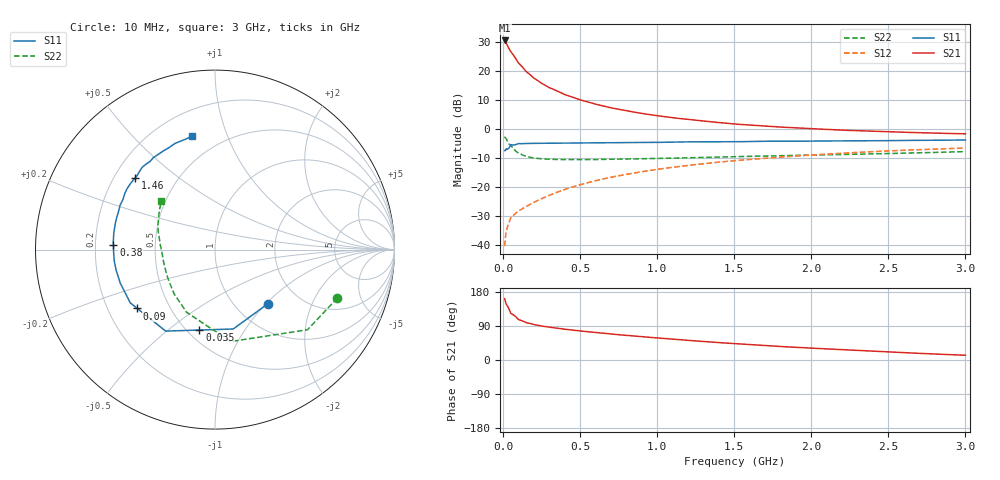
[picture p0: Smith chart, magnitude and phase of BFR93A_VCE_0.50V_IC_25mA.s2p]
! Infineon Technologies  Discrete & RF Semiconductors
! BFR93A
! VCE = 0.50 V,  IC =  25 mA
! Common Emitter S-Parameters:  Nov 2015
# GHz  S  MA  R  50
!  f  S11  S21  S12  S22
! GHz  MAG  ANG  MAG  ANG  MAG  ANG  MAG  ANG
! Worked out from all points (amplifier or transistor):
!   180 points, 10 MHz to 3 GHz, reference 50 ohm
!   highest |S21| = 30.6 dB at 10 MHz (marker M1)
!   |S21| within 3 dB of that: start of sweep to 40.33 MHz
!   unconditionally stable (mu >= 1): 200.4 MHz to end of sweep
!   at 160 MHz: K = 0.91, MSG = 23.0 dB, |S12| = -26.5 dB
!   at 1.22 GHz: K = 1.19, MAG = 5.2 dB, |S12| = -12.5 dB
!   at 3 GHz: K = 1.07, MAG = 0.8 dB, |S12| = -6.6 dB
!   S11 on the Smith chart (normalised r, x): 10 MHz: 1.40, -1.03; 35 MHz: 0.57, -0.65; 90 MHz: 0.33, -0.30; 380 MHz: 0.28, +0.02; 1.46 GHz: 0.29, +0.36; 3 GHz: 0.35, +0.75
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0.01  0.4218 -45.7  33.73 161.9  0.0094 74.3  0.7335 -21.6
0.02  0.4538 -77.1  30.22 147.8  0.0169 65.2  0.6819 -40.9
0.035  0.4565 -101.0  25.36 137.6  0.0228 57.1  0.5663 -57.8
0.05  0.5308 -121.2  21.65 123.2  0.0289 52.3  0.5197 -80.3
0.09  0.543 -142.9  15.21 111.3  0.0363 49.8  0.3972 -105.9
0.1  0.5576 -147.9  13.77 106.6  0.0381 49.3  0.3834 -114.3
0.15  0.5599 -160.6  9.771 98.6  0.0455 52.8  0.3361 -132.5
0.2  0.5625 -168.1  7.543 93.5  0.0537 56.3  0.3136 -143.9
0.26  0.5648 -174.1  5.923 89.0  0.064 59.2  0.303 -152.8
0.3  0.5648 -177.1  5.155 86.4  0.071 60.7  0.2984 -157.3
0.38  0.5669 177.5  4.159 82.4  0.086 62.5  0.2952 -163.6
0.4  0.5682 176.2  3.914 81.1  0.0897 62.9  0.295 -165.2
0.52  0.5717 169.8  3.074 75.8  0.112 63.5  0.2937 -171.5
0.6  0.574 166.3  2.674 72.4  0.127 63.4  0.2954 -175.1
0.7  0.5759 162.4  2.313 68.5  0.1458 62.7  0.2975 -178.5
0.88  0.5821 155.7  1.887 62.2  0.1783 60.8  0.3043 176.1
1.02  0.5853 150.8  1.662 57.6  0.2032 58.9  0.3089 172.7
1.46  0.598 137.8  1.243 44.3  0.2756 52.2  0.3285 163.5
1.52  0.5995 136.2  1.204 42.7  0.2847 51.3  0.3319 162.4
2.02  0.6166 123.5  1.003 30.9  0.3562 43.3  0.3526 154.0
2.52  0.6282 112.1  0.89 20.9  0.4184 34.9  0.3757 145.7
3  0.6436 101.7  0.822 12.5  0.4669 26.9  0.4047 137.6
